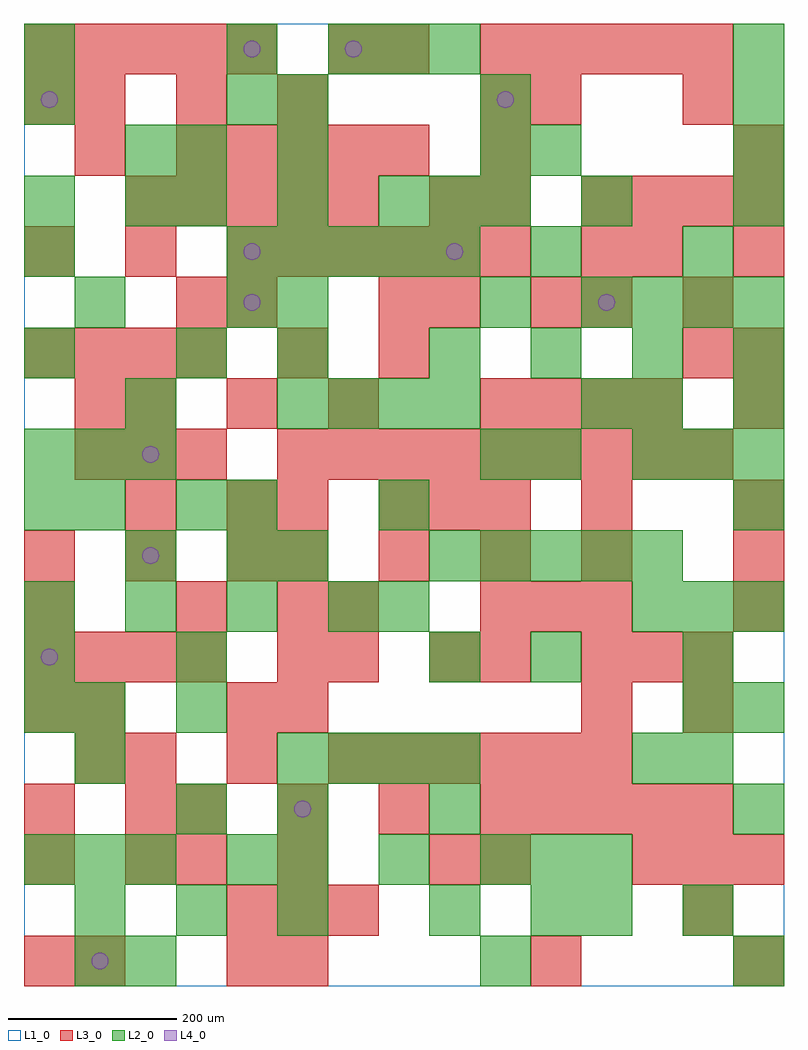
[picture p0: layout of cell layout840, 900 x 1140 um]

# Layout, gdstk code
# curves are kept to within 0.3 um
import gdstk
lib = gdstk.Library(unit=1e-6, precision=1e-09)
def R(c, l, rs):  # rectangles x0, y0, x1, y1
    for r in rs: c.add(gdstk.rectangle(r[:2], r[2:], *l))
def A(c, l, x, y, w, h, nx, ny, dx, dy):  # array of equal rectangles
    R(c, l, [(x+i*dx, y+j*dy, x+i*dx+w, y+j*dy+h) for i in range(nx) for j in range(ny)])
def P(c, l, *ps):  # polygons
    for p in ps: c.add(gdstk.Polygon(p, *l))
L1_0 = (1, 0)
L2_0 = (2, 0)
L3_0 = (3, 0)
L4_0 = (4, 0)

layout840 = lib.new_cell('layout840')
R(layout840, L1_0, [(0,0,900,1140)])
A(layout840, L2_0, 60, 60, 60, 60, 3, 1, 120, 0)
A(layout840, L2_0, 0, 120, 60, 60, 3, 2, 60, 480)
A(layout840, L2_0, 300, 120, 60, 60, 3, 1, 120, 0)
A(layout840, L2_0, 600, 120, 60, 60, 1, 4, 0, 240)
A(layout840, L2_0, 300, 240, 60, 60, 4, 2, 60, 420)
A(layout840, L2_0, 780, 240, 60, 60, 1, 3, 0, 60)
A(layout840, L2_0, 60, 300, 60, 60, 1, 3, 0, 240)
A(layout840, L2_0, 0, 360, 60, 60, 1, 3, 0, 180)
A(layout840, L2_0, 180, 360, 60, 60, 1, 3, 0, 180)
A(layout840, L2_0, 0, 420, 60, 60, 4, 1, 120, 0)
A(layout840, L2_0, 720, 420, 60, 60, 3, 2, 60, 180)
A(layout840, L2_0, 480, 480, 60, 60, 5, 1, 60, 0)
A(layout840, L2_0, 240, 540, 60, 60, 1, 3, 0, 240)
A(layout840, L2_0, 480, 720, 60, 60, 4, 1, 120, 0)
A(layout840, L2_0, 660, 780, 60, 60, 4, 1, 60, 0)
A(layout840, L2_0, 240, 840, 60, 60, 5, 1, 60, 0)
A(layout840, L2_0, 180, 900, 60, 60, 3, 1, 120, 0)
A(layout840, L2_0, 540, 900, 60, 60, 1, 3, 0, 60)
A(layout840, L2_0, 840, 900, 60, 60, 1, 4, 0, 60)
A(layout840, L2_0, 360, 1080, 60, 60, 3, 1, 60, 0)
R(layout840, L2_0, [(60,0,120,60), (120,0,180,60), (540,0,600,60), (840,0,900,60), (480,60,540,120), (600,60,660,120), (660,60,720,120), (780,60,840,120), (240,120,300,180), (660,120,720,180), (180,180,240,240), (300,180,360,240), (480,180,540,240), (840,180,900,240), (60,240,120,300), (720,240,780,300), (0,300,60,360), (180,300,240,360), (840,300,900,360), (480,360,540,420), (420,420,480,480), (120,480,180,540), (240,480,300,540), (300,480,360,540), (420,540,480,600), (840,540,900,600), (540,600,600,660), (120,660,180,720), (660,660,720,720), (720,660,780,720), (840,660,900,720), (300,720,360,780), (300,780,360,840), (540,780,600,840), (0,840,60,900), (780,840,840,900), (0,900,60,960), (120,900,180,960), (480,900,540,960), (660,900,720,960), (120,960,180,1020), (180,960,240,1020), (300,960,360,1020), (600,960,660,1020), (0,1020,60,1080), (300,1020,360,1080), (0,1080,60,1140), (240,1080,300,1140)])
A(layout840, L3_0, 240, 60, 60, 60, 3, 1, 60, 0)
A(layout840, L3_0, 720, 120, 60, 60, 3, 1, 60, 0)
A(layout840, L3_0, 0, 180, 60, 60, 1, 3, 0, 120)
A(layout840, L3_0, 180, 180, 60, 60, 4, 1, 120, 0)
A(layout840, L3_0, 600, 180, 60, 60, 4, 1, 60, 0)
A(layout840, L3_0, 120, 240, 60, 60, 3, 2, 120, 420)
A(layout840, L3_0, 420, 240, 60, 60, 5, 1, 60, 0)
A(layout840, L3_0, 240, 300, 60, 60, 1, 3, 0, 240)
A(layout840, L3_0, 300, 300, 60, 60, 1, 3, 0, 60)
A(layout840, L3_0, 660, 300, 60, 60, 1, 3, 0, 240)
A(layout840, L3_0, 0, 360, 60, 60, 4, 2, 60, 360)
A(layout840, L3_0, 660, 360, 60, 60, 3, 1, 60, 0)
A(layout840, L3_0, 540, 420, 60, 60, 3, 1, 60, 0)
A(layout840, L3_0, 840, 420, 60, 60, 1, 3, 0, 60)
A(layout840, L3_0, 0, 480, 60, 60, 3, 2, 120, 360)
A(layout840, L3_0, 300, 480, 60, 60, 4, 1, 120, 0)
A(layout840, L3_0, 420, 540, 60, 60, 3, 1, 60, 0)
A(layout840, L3_0, 60, 600, 60, 60, 3, 1, 60, 0)
A(layout840, L3_0, 300, 600, 60, 60, 9, 1, 60, 0)
A(layout840, L3_0, 540, 660, 60, 60, 4, 1, 60, 0)
A(layout840, L3_0, 840, 720, 60, 60, 1, 3, 0, 120)
A(layout840, L3_0, 300, 840, 60, 60, 5, 1, 60, 0)
A(layout840, L3_0, 120, 900, 60, 60, 5, 1, 60, 0)
A(layout840, L3_0, 540, 900, 60, 60, 1, 3, 0, 60)
A(layout840, L3_0, 660, 900, 60, 60, 4, 1, 60, 0)
A(layout840, L3_0, 180, 960, 60, 60, 5, 1, 60, 0)
A(layout840, L3_0, 60, 1020, 60, 60, 3, 1, 120, 0)
A(layout840, L3_0, 0, 1080, 60, 60, 5, 1, 60, 0)
A(layout840, L3_0, 540, 1080, 60, 60, 5, 1, 60, 0)
R(layout840, L3_0, [(0,0,60,60), (60,0,120,60), (240,0,300,60), (300,0,360,60), (600,0,660,60), (840,0,900,60), (780,60,840,120), (0,120,60,180), (120,120,180,180), (180,120,240,180), (300,120,360,180), (480,120,540,180), (540,120,600,180), (120,180,180,240), (60,240,120,300), (60,300,120,360), (780,300,840,360), (360,360,420,420), (480,360,540,420), (540,360,600,420), (180,420,240,480), (360,420,420,480), (120,540,180,600), (300,540,360,600), (60,660,120,720), (840,660,900,720), (300,720,360,780), (420,720,480,780), (780,720,840,780), (180,780,240,840), (420,780,480,840), (480,780,540,840), (600,780,660,840), (780,780,840,840), (660,840,720,900), (720,840,780,900), (480,900,540,960), (60,960,120,1020), (0,1020,60,1080), (600,1020,660,1080), (780,1020,840,1080), (360,1080,420,1140), (420,1080,480,1140)])
P(layout840, L4_0, [(40,390),(39.239,393.827),(37.071,397.071),(33.827,399.239),(30,400),(26.173,399.239),(22.929,397.071),(20.761,393.827),(20,390),(20.761,386.173),(22.929,382.929),(26.173,380.761),(30,380),(33.827,380.761),(37.071,382.929),(39.239,386.173)],
  [(40,1050),(39.239,1053.827),(37.071,1057.071),(33.827,1059.239),(30,1060),(26.173,1059.239),(22.929,1057.071),(20.761,1053.827),(20,1050),(20.761,1046.173),(22.929,1042.929),(26.173,1040.761),(30,1040),(33.827,1040.761),(37.071,1042.929),(39.239,1046.173)],
  [(100,30),(99.239,33.827),(97.071,37.071),(93.827,39.239),(90,40),(86.173,39.239),(82.929,37.071),(80.761,33.827),(80,30),(80.761,26.173),(82.929,22.929),(86.173,20.761),(90,20),(93.827,20.761),(97.071,22.929),(99.239,26.173)],
  [(160,510),(159.239,513.827),(157.071,517.071),(153.827,519.239),(150,520),(146.173,519.239),(142.929,517.071),(140.761,513.827),(140,510),(140.761,506.173),(142.929,502.929),(146.173,500.761),(150,500),(153.827,500.761),(157.071,502.929),(159.239,506.173)],
  [(160,630),(159.239,633.827),(157.071,637.071),(153.827,639.239),(150,640),(146.173,639.239),(142.929,637.071),(140.761,633.827),(140,630),(140.761,626.173),(142.929,622.929),(146.173,620.761),(150,620),(153.827,620.761),(157.071,622.929),(159.239,626.173)],
  [(280,810),(279.239,813.827),(277.071,817.071),(273.827,819.239),(270,820),(266.173,819.239),(262.929,817.071),(260.761,813.827),(260,810),(260.761,806.173),(262.929,802.929),(266.173,800.761),(270,800),(273.827,800.761),(277.071,802.929),(279.239,806.173)],
  [(280,870),(279.239,873.827),(277.071,877.071),(273.827,879.239),(270,880),(266.173,879.239),(262.929,877.071),(260.761,873.827),(260,870),(260.761,866.173),(262.929,862.929),(266.173,860.761),(270,860),(273.827,860.761),(277.071,862.929),(279.239,866.173)],
  [(280,1110),(279.239,1113.827),(277.071,1117.071),(273.827,1119.239),(270,1120),(266.173,1119.239),(262.929,1117.071),(260.761,1113.827),(260,1110),(260.761,1106.173),(262.929,1102.929),(266.173,1100.761),(270,1100),(273.827,1100.761),(277.071,1102.929),(279.239,1106.173)],
  [(340,210),(339.239,213.827),(337.071,217.071),(333.827,219.239),(330,220),(326.173,219.239),(322.929,217.071),(320.761,213.827),(320,210),(320.761,206.173),(322.929,202.929),(326.173,200.761),(330,200),(333.827,200.761),(337.071,202.929),(339.239,206.173)],
  [(400,1110),(399.239,1113.827),(397.071,1117.071),(393.827,1119.239),(390,1120),(386.173,1119.239),(382.929,1117.071),(380.761,1113.827),(380,1110),(380.761,1106.173),(382.929,1102.929),(386.173,1100.761),(390,1100),(393.827,1100.761),(397.071,1102.929),(399.239,1106.173)],
  [(520,870),(519.239,873.827),(517.071,877.071),(513.827,879.239),(510,880),(506.173,879.239),(502.929,877.071),(500.761,873.827),(500,870),(500.761,866.173),(502.929,862.929),(506.173,860.761),(510,860),(513.827,860.761),(517.071,862.929),(519.239,866.173)],
  [(580,1050),(579.239,1053.827),(577.071,1057.071),(573.827,1059.239),(570,1060),(566.173,1059.239),(562.929,1057.071),(560.761,1053.827),(560,1050),(560.761,1046.173),(562.929,1042.929),(566.173,1040.761),(570,1040),(573.827,1040.761),(577.071,1042.929),(579.239,1046.173)],
  [(700,810),(699.239,813.827),(697.071,817.071),(693.827,819.239),(690,820),(686.173,819.239),(682.929,817.071),(680.761,813.827),(680,810),(680.761,806.173),(682.929,802.929),(686.173,800.761),(690,800),(693.827,800.761),(697.071,802.929),(699.239,806.173)])

lib.write_gds('layout840.gds')
